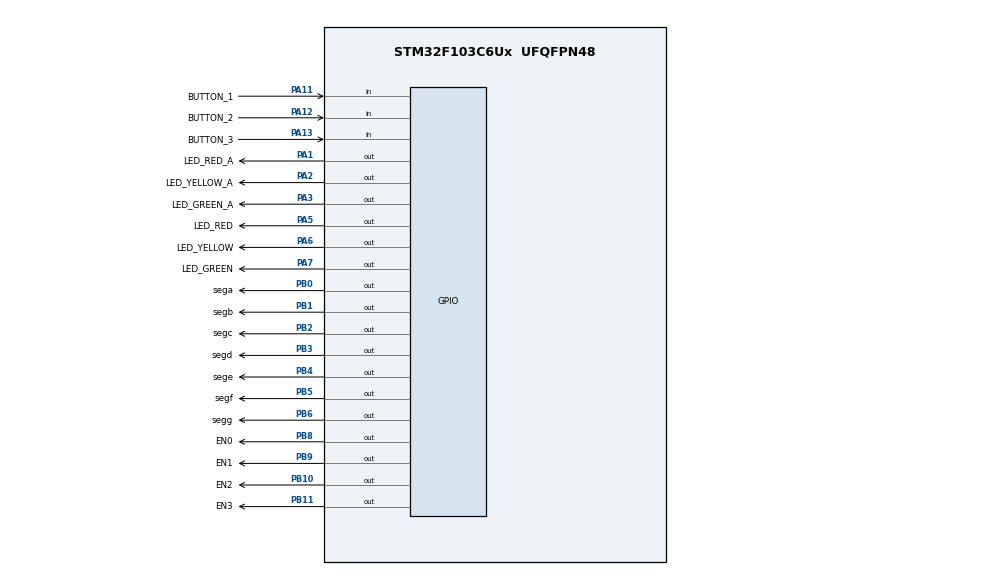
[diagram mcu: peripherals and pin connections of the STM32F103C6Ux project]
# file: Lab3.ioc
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Mcu.Family=STM32F1
Mcu.Name=STM32F103C6Ux
Mcu.Package=UFQFPN48
NVIC.PriorityGroup=NVIC_PRIORITYGROUP_4
NVIC.TIM2_IRQn=true\:0\:0\:false\:false\:true\:true\:true
PA1.GPIO_Label=LED_RED_A
PA1.Signal=GPIO_Output
PA11.GPIO_Label=BUTTON_1
PA11.GPIO_PuPd=GPIO_PULLUP
PA11.Signal=GPIO_Input
PA12.GPIO_Label=BUTTON_2
PA12.GPIO_PuPd=GPIO_PULLUP
PA12.Signal=GPIO_Input
PA13.GPIO_Label=BUTTON_3
PA13.GPIO_PuPd=GPIO_PULLUP
PA13.Signal=GPIO_Input
PA2.GPIO_Label=LED_YELLOW_A
PA2.Signal=GPIO_Output
PA3.GPIO_Label=LED_GREEN_A
PA3.Signal=GPIO_Output
PA5.GPIO_Label=LED_RED
PA5.Signal=GPIO_Output
PA6.GPIO_Label=LED_YELLOW
PA6.Signal=GPIO_Output
PA7.GPIO_Label=LED_GREEN
PA7.Signal=GPIO_Output
PB0.GPIO_Label=sega
PB0.Signal=GPIO_Output
PB1.GPIO_Label=segb
PB1.Signal=GPIO_Output
PB10.GPIO_Label=EN2
PB10.Signal=GPIO_Output
PB11.GPIO_Label=EN3
PB11.Signal=GPIO_Output
PB2.GPIO_Label=segc
PB2.Signal=GPIO_Output
PB3.GPIO_Label=segd
PB3.Signal=GPIO_Output
PB4.GPIO_Label=sege
PB4.Signal=GPIO_Output
PB5.GPIO_Label=segf
PB5.Signal=GPIO_Output
PB6.GPIO_Label=segg
PB6.Signal=GPIO_Output
PB8.GPIO_Label=EN0
PB8.Signal=GPIO_Output
PB9.GPIO_Label=EN1
PB9.Signal=GPIO_Output
ProjectManager.HeapSize=0x200
ProjectManager.StackSize=0x400
ProjectManager.TargetToolchain=STM32CubeIDE
RCC.APB1Freq_Value=8000000
RCC.APB2Freq_Value=8000000
TIM2.Period=9
TIM2.Prescaler=7999
VP_SYS_VS_ND.Mode=No_Debug
VP_TIM2_VS_ClockSourceINT.Mode=Internal
board=custom

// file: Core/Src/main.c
/* USER CODE BEGIN Header */
/**
  ******************************************************************************
  * @file           : main.c
  * @brief          : Main program body
  ******************************************************************************
  * @attention
  *
  * <h2><center>&copy; Copyright (c) 2023 STMicroelectronics.
  * All rights reserved.</center></h2>
  *
  * This software component is licensed by ST under BSD 3-Clause license,
  * the "License"; You may not use this file except in compliance with the
  * License. You may obtain a copy of the License at:
  *                        opensource.org/licenses/BSD-3-Clause
  *
  ******************************************************************************
  */
/* USER CODE END Header */
#include "main.h"

/* USER CODE BEGIN Includes */
#include "software_timer.h"
#include "global.h"
#include "button.h"
#include "fsm_automatic.h"
#include "fsm_manual.h"
#include "display_7seg.h"
#include "update_mode1.h"
/* USER CODE END Includes */

TIM_HandleTypeDef htim2;

void SystemClock_Config(void);
static void MX_GPIO_Init(void);
static void MX_TIM2_Init(void);

int main(void)
{

  /* MCU Configuration--------------------------------------------------------*/

  /* Reset of all peripherals, Initializes the Flash interface and the Systick. */
  HAL_Init();

  /* Configure the system clock */
  SystemClock_Config();

  /* Initialize all configured peripherals */
  MX_GPIO_Init();
  MX_TIM2_Init();
  /* USER CODE BEGIN 2 */
  HAL_TIM_Base_Start_IT(&htim2);
  /* USER CODE END 2 */

  /* Infinite loop */
  /* USER CODE BEGIN WHILE */
  mode = 1;
  status = INIT;
  status_a = INIT_a;
  setTimer1(50);
  setTimer3(50);

  int index_led = 0;
  setTimer2(50);

  prescaler_blink = htim2.Init.Prescaler;
  period_blink = htim2.Init.Period;

  int led_buffer[4] = {0 , 1 , 0 , 3};

  duration_red = 5;
  duration_green = 3;
  duration_yellow = 2;
  while (1)
  {
    /* USER CODE END WHILE */

    /* USER CODE BEGIN 3 */
	  fsm_automatic_run();
	  fsm_automatic_run_a();
	  fsm_manual_run();
	  if (mode == 1){
		  update_mode1();
	  }

	if (timer2_flag == 1){
		setTimer2(50);
		// TO DO
		update_7seg(index_led);
		if (index_led <= 3){
			index_led ++;
			if (index_led > 3){
				index_led = 0;
			}
		}
	}
  }
  /* USER CODE END 3 */
}

void SystemClock_Config(void)
{
  RCC_OscInitTypeDef RCC_OscInitStruct = {0};
  RCC_ClkInitTypeDef RCC_ClkInitStruct = {0};

  /** Initializes the RCC Oscillators according to the specified parameters
  * in the RCC_OscInitTypeDef structure.
  */
  RCC_OscInitStruct.OscillatorType = RCC_OSCILLATORTYPE_HSI;
  RCC_OscInitStruct.HSIState = RCC_HSI_ON;
  RCC_OscInitStruct.HSICalibrationValue = RCC_HSICALIBRATION_DEFAULT;
  RCC_OscInitStruct.PLL.PLLState = RCC_PLL_NONE;
  if (HAL_RCC_OscConfig(&RCC_OscInitStruct) != HAL_OK)
  {
    Error_Handler();
  }
  /** Initializes the CPU, AHB and APB buses clocks
  */
  RCC_ClkInitStruct.ClockType = RCC_CLOCKTYPE_HCLK|RCC_CLOCKTYPE_SYSCLK
                              |RCC_CLOCKTYPE_PCLK1|RCC_CLOCKTYPE_PCLK2;
  RCC_ClkInitStruct.SYSCLKSource = RCC_SYSCLKSOURCE_HSI;
  RCC_ClkInitStruct.AHBCLKDivider = RCC_SYSCLK_DIV1;
  RCC_ClkInitStruct.APB1CLKDivider = RCC_HCLK_DIV1;
  RCC_ClkInitStruct.APB2CLKDivider = RCC_HCLK_DIV1;

  if (HAL_RCC_ClockConfig(&RCC_ClkInitStruct, FLASH_LATENCY_0) != HAL_OK)
  {
    Error_Handler();
  }
}

static void MX_TIM2_Init(void)
{

  TIM_ClockConfigTypeDef sClockSourceConfig = {0};
  TIM_MasterConfigTypeDef sMasterConfig = {0};

  htim2.Instance = TIM2;
  htim2.Init.Prescaler = 7999;
  htim2.Init.CounterMode = TIM_COUNTERMODE_UP;
  htim2.Init.Period = 9;
  htim2.Init.ClockDivision = TIM_CLOCKDIVISION_DIV1;
  htim2.Init.AutoReloadPreload = TIM_AUTORELOAD_PRELOAD_DISABLE;
  if (HAL_TIM_Base_Init(&htim2) != HAL_OK)
  {
    Error_Handler();
  }
  sClockSourceConfig.ClockSource = TIM_CLOCKSOURCE_INTERNAL;
  if (HAL_TIM_ConfigClockSource(&htim2, &sClockSourceConfig) != HAL_OK)
  {
    Error_Handler();
  }
  sMasterConfig.MasterOutputTrigger = TIM_TRGO_RESET;
  sMasterConfig.MasterSlaveMode = TIM_MASTERSLAVEMODE_DISABLE;
  if (HAL_TIMEx_MasterConfigSynchronization(&htim2, &sMasterConfig) != HAL_OK)
  {
    Error_Handler();
  }

}

static void MX_GPIO_Init(void)
{
  GPIO_InitTypeDef GPIO_InitStruct = {0};

  /* GPIO Ports Clock Enable */
  __HAL_RCC_GPIOA_CLK_ENABLE();
  __HAL_RCC_GPIOB_CLK_ENABLE();

  /*Configure GPIO pin Output Level */
  HAL_GPIO_WritePin(GPIOA, LED_RED_A_Pin|LED_YELLOW_A_Pin|LED_GREEN_A_Pin|LED_RED_Pin
                          |LED_YELLOW_Pin|LED_GREEN_Pin, GPIO_PIN_RESET);

  /*Configure GPIO pin Output Level */
  HAL_GPIO_WritePin(GPIOB, sega_Pin|segb_Pin|segc_Pin|EN2_Pin
                          |EN3_Pin|segd_Pin|sege_Pin|segf_Pin
                          |segg_Pin|EN0_Pin|EN1_Pin, GPIO_PIN_RESET);

  /*Configure GPIO pins : LED_RED_A_Pin LED_YELLOW_A_Pin LED_GREEN_A_Pin LED_RED_Pin
                           LED_YELLOW_Pin LED_GREEN_Pin */
  GPIO_InitStruct.Pin = LED_RED_A_Pin|LED_YELLOW_A_Pin|LED_GREEN_A_Pin|LED_RED_Pin
                          |LED_YELLOW_Pin|LED_GREEN_Pin;
  GPIO_InitStruct.Mode = GPIO_MODE_OUTPUT_PP;
  GPIO_InitStruct.Pull = GPIO_NOPULL;
  GPIO_InitStruct.Speed = GPIO_SPEED_FREQ_LOW;
  HAL_GPIO_Init(GPIOA, &GPIO_InitStruct);

  /*Configure GPIO pins : sega_Pin segb_Pin segc_Pin EN2_Pin
                           EN3_Pin segd_Pin sege_Pin segf_Pin
                           segg_Pin EN0_Pin EN1_Pin */
  GPIO_InitStruct.Pin = sega_Pin|segb_Pin|segc_Pin|EN2_Pin
                          |EN3_Pin|segd_Pin|sege_Pin|segf_Pin
                          |segg_Pin|EN0_Pin|EN1_Pin;
  GPIO_InitStruct.Mode = GPIO_MODE_OUTPUT_PP;
  GPIO_InitStruct.Pull = GPIO_NOPULL;
  GPIO_InitStruct.Speed = GPIO_SPEED_FREQ_LOW;
  HAL_GPIO_Init(GPIOB, &GPIO_InitStruct);

  /*Configure GPIO pins : BUTTON_1_Pin BUTTON_2_Pin BUTTON_3_Pin */
  GPIO_InitStruct.Pin = BUTTON_1_Pin|BUTTON_2_Pin|BUTTON_3_Pin;
  GPIO_InitStruct.Mode = GPIO_MODE_INPUT;
  GPIO_InitStruct.Pull = GPIO_PULLUP;
  HAL_GPIO_Init(GPIOA, &GPIO_InitStruct);

}

/* USER CODE BEGIN 4 */
void HAL_TIM_PeriodElapsedCallback(TIM_HandleTypeDef *htim){
	getKey1Input();
	getKey2Input();
	getKey3Input();
	timerRun();
}

/* USER CODE END 4 */

void Error_Handler(void)
{
  __disable_irq();
  while (1)
  {
  }
}

/************************ (C) COPYRIGHT STMicroelectronics *****END OF FILE****/
